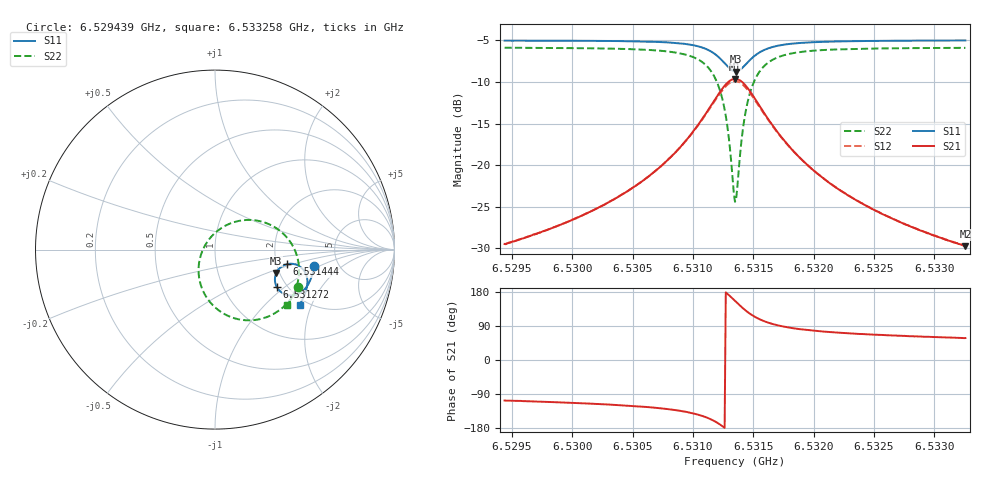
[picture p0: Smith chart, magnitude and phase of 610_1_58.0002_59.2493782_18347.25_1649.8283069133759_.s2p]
#  HZ  S  RI  R  50.00
! Rohde & Schwarz Vector Network Analyzer
! Rohde-Schwarz,ZNB20-2Port,1311601062101988,3.16
! Created: UTC 3/21/2024, 1:17:41 AM
! freq[Hz]  re:S11  im:S11  re:S21  im:S21  re:S12  im:S12  re:S22  im:S22
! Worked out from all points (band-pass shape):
!   401 points, 6.529439 GHz to 6.533258 GHz, reference 50 ohm
!   highest |S21| = -9.62 dB at 6.531349 GHz (marker M1); lowest = -29.8 dB at 6.533258 GHz (marker M2)
!   |S21| within 3 dB of the highest: 6.531159 GHz to 6.531541 GHz (381.6 kHz wide, 0.00584 % of centre)
!   lowest |S11| = -8.7 dB at 6.531358 GHz (marker M3), VSWR 2.15, Z = 96.1 - j28.9 ohm
!   |S11| at or under -10 dB: nowhere
!   |S22| runs from -24.4 to -5.9 dB; largest |S21 - S12| = 0.014
!   S11 on the Smith chart (normalised r, x): 6.529439 GHz: 3.30, -0.86; 6.531272 GHz: 1.77, -0.88; 6.531444 GHz: 2.27, -0.44; 6.533258 GHz: 1.83, -1.64
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6.5294387e9  0.5533 -0.0897  -0.00975 -0.032  -0.0104 -0.0317  0.4641 -0.2065
6.5300785e9  0.5407 -0.1436  -0.0203 -0.0452  -0.0214 -0.0448  0.4291 -0.2662
6.5304414e9  0.5274 -0.178  -0.0344 -0.0593  -0.0358 -0.0584  0.3923 -0.3091
6.5307183e9  0.5091 -0.209  -0.0578 -0.0767  -0.0599 -0.075  0.3395 -0.3509
6.5309475e9  0.4777 -0.2391  -0.1039 -0.0967  -0.1069 -0.0927  0.247 -0.3881
6.5311098e9  0.4287 -0.2554  -0.1804 -0.0988  -0.1823 -0.091  0.1083 -0.3827
6.5312053e9  0.3796 -0.2442  -0.2557 -0.0624  -0.2532 -0.0515  -0.0147 -0.3072
6.5312721e9  0.3445 -0.2088  -0.3055 0.00891  -0.2972 0.0191  -0.0842 -0.1787
6.5313008e9  0.3357 -0.1848  -0.315 0.0531  -0.3044 0.0612  -0.0916 -0.1041
6.5313294e9  0.3343 -0.1576  -0.3119 0.1017  -0.2996 0.1068  -0.0771 -0.0255
6.5313485e9  0.3381 -0.1393  -0.302 0.1335  -0.2893 0.1365  -0.0548 0.0246
6.5313581e9  0.3415 -0.1304  -0.2945 0.1486  -0.2819 0.1506  -0.04 0.0479
6.5313676e9  0.3458 -0.122  -0.2855 0.163  -0.2732 0.1636  -0.023 0.0695
6.5314154e9  0.3773 -0.0907  -0.2261 0.2158  -0.2168 0.2127  0.0834 0.145
6.531444e9  0.3998 -0.0814  -0.1858 0.231  -0.1786 0.2269  0.1524 0.1632
6.5315109e9  0.4465 -0.0821  -0.1044 0.2301  -0.101 0.2264  0.2879 0.147
6.5316064e9  0.4868 -0.1063  -0.0359 0.194  -0.0343 0.192  0.3979 0.0708
6.5317496e9  0.5096 -0.1445  0.00424 0.1423  0.00545 0.1415  0.4558 -0.0327
6.5319883e9  0.5145 -0.1892  0.0201 0.0921  0.0212 0.0919  0.4678 -0.1355
6.5322939e9  0.5076 -0.2273  0.0218 0.0613  0.0229 0.0611  0.4546 -0.2059
6.5326281e9  0.496 -0.2587  0.0205 0.044  0.0212 0.0437  0.4359 -0.2531
6.5332583e9  0.4708 -0.3069  0.0173 0.0275  0.0178 0.0272  0.4007 -0.3113
